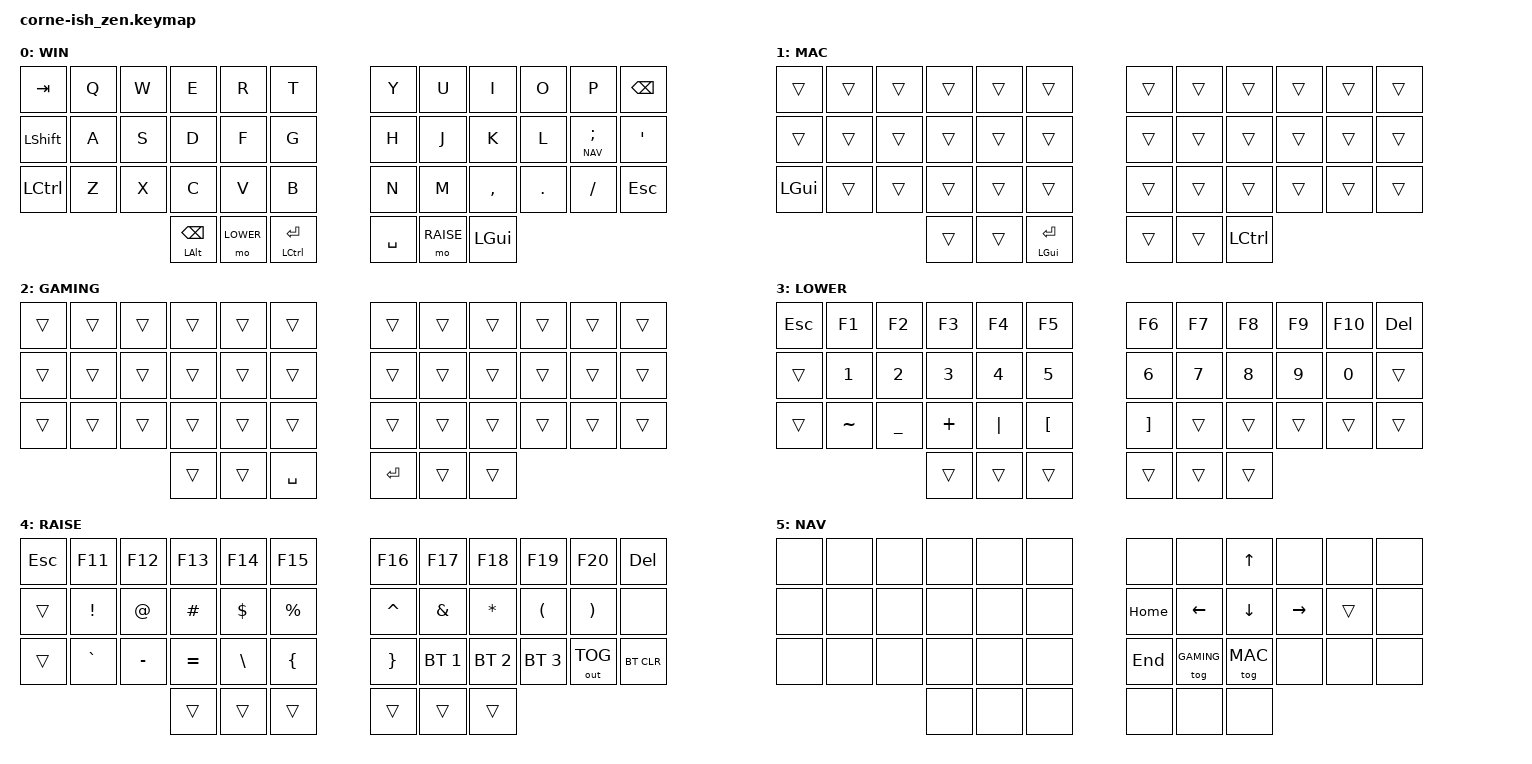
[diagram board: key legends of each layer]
/*
*
* Copyright (c) 2021 lowprokb.ca
* SPDX-License-Identifier: MIT
*
*/

#include <behaviors.dtsi>
#include <dt-bindings/zmk/keys.h>
#include <dt-bindings/zmk/bt.h>

#define WIN 0
#define MAC 1
#define GAMING 2
#define LOWER 3
#define RAISE 4
#define NAV 5

/ {
        keymap {
                compatible = "zmk,keymap";

                win_layer {
                        label = "WIN";
                        bindings = <
   &kp TAB   &kp Q &kp W &kp E &kp R &kp T               &kp Y &kp U &kp I    &kp O   &kp P        &kp BKSP
   &kp LSHFT &kp A &kp S &kp D &kp F &kp G               &kp H &kp J &kp K    &kp L   &lt NAV SEMI &kp QUOT
   &kp LCTL  &kp Z &kp X &kp C &kp V &kp B               &kp N &kp M &kp CMMA &kp DOT &kp FSLH     &kp ESC
             &mt LALT BKSP &mo LOWER &mt LCTL ENTER      &kp SPC &mo RAISE &kp LGUI
                        >;
                };

                mac_layer {
                        label = "MAC";
                        bindings = <
   &trans   &trans &trans &trans &trans &trans               &trans &trans &trans &trans &trans &trans
   &trans   &trans &trans &trans &trans &trans               &trans &trans &trans &trans &trans &trans
   &kp LGUI &trans &trans &trans &trans &trans               &trans &trans &trans &trans &trans &trans
                          &trans &trans &mt LGUI ENTER       &trans &trans &kp LCTL
                        >;
                };

                gaming_layer {
                        label = "GAMING";
                        bindings = <
   &trans &trans &trans &trans &trans &trans       &trans &trans &trans &trans &trans &trans
   &trans &trans &trans &trans &trans &trans       &trans &trans &trans &trans &trans &trans
   &trans &trans &trans &trans &trans &trans       &trans &trans &trans &trans &trans &trans
                        &trans &trans &kp SPC      &kp ENTER &trans &trans
                        >;
                };

                lower_layer {
                        label = "LOWER";
                        bindings = <
   &kp ESC &kp F1    &kp F2    &kp F3   &kp F4   &kp F5        &kp F6   &kp F7 &kp F8 &kp F9 &kp F10 &kp DEL
   &trans  &kp N1    &kp N2    &kp N3   &kp N4   &kp N5        &kp N6   &kp N7 &kp N8 &kp N9 &kp N0  &trans
   &trans  &kp TILDE &kp UNDER &kp PLUS &kp PIPE &kp LBKT      &kp RBKT &trans &trans &trans &trans  &trans
                                   &trans &trans &trans        &trans &trans &trans
                        >;
                };

                raise_layer {
                        label = "RAISE";
                        bindings = <
   &kp ESC &kp F11   &kp F12   &kp F13   &kp F14  &kp F15        &kp F16   &kp F17      &kp F18      &kp F19      &kp F20      &kp DEL
   &trans  &kp EXCL  &kp AT    &kp HASH  &kp DLLR &kp PRCNT      &kp CARET &kp AMPS     &kp ASTRK    &kp LPAR     &kp RPAR     &none
   &trans  &kp GRAVE &kp MINUS &kp EQUAL &kp BSLH &kp LBRC       &kp RBRC  &bt BT_SEL 1 &bt BT_SEL 2 &bt BT_SEL 3 &out OUT_TOG &bt BT_CLR
                                    &trans &trans &trans         &trans &trans &trans
                        >;
                };

                nav_layer {
                        label = "NAV";
                        bindings = <
   &none &none &none &none &none &none      &none    &none       &kp UP   &none     &none  &none
   &none &none &none &none &none &none      &kp HOME &kp LEFT    &kp DOWN &kp RIGHT &trans &none
   &none &none &none &none &none &none      &kp END  &tog GAMING &tog MAC &none     &none  &none
                     &none &none &none      &none &none &none
                        >;
                };
        };
};
